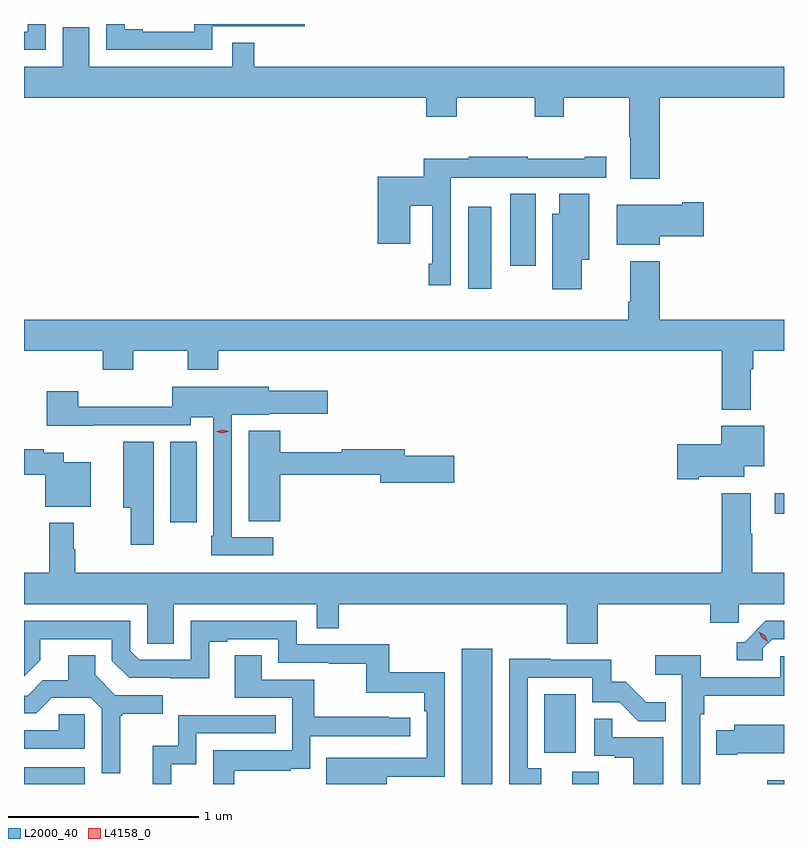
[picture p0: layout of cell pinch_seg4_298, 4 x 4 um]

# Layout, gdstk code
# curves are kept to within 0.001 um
import gdstk
lib = gdstk.Library(unit=1e-6, precision=1e-09)
def R(c, l, rs):  # rectangles x0, y0, x1, y1
    for r in rs: c.add(gdstk.rectangle(r[:2], r[2:], *l))
def P(c, l, *ps):  # polygons
    for p in ps: c.add(gdstk.Polygon(p, *l))
L2000_40 = (2000, 40)
L4158_0 = (4158, 0)

pinch_seg4_298 = lib.new_cell('pinch_seg4_298')
R(pinch_seg4_298, L2000_40, [(949.127,803.865,949.446,803.952), (951.431,803.865,951.592,804.577), (952.013,803.865,952.153,803.93), (953.038,803.865,953.127,803.884), (951.866,804.03,952.03,804.337), (949.898,805.242,950.035,805.667), (953.079,805.287,953.127,805.395), (951.464,806.472,951.586,806.902), (951.686,806.592,951.82,806.972)])
P(pinch_seg4_298, L2000_40, [(950.118,807.852),(950.605,807.852),(950.605,807.865),(950.022,807.865),(950.022,807.825),(949.753,807.825),(949.753,807.838),(949.657,807.838),(949.657,807.865),(949.56,807.865),(949.56,807.729),(950.118,807.729)],
  [(949.242,807.865),(949.146,807.865),(949.146,807.825),(949.127,807.825),(949.127,807.729),(949.242,807.729)],
  [(952.472,807.476),(953.127,807.476),(953.127,807.64),(950.339,807.64),(950.339,807.767),(950.223,807.767),(950.223,807.64),(949.471,807.64),(949.471,807.848),(949.332,807.848),(949.332,807.64),(949.127,807.64),(949.127,807.476),(951.245,807.476),(951.245,807.377),(951.405,807.377),(951.405,807.476),(951.814,807.476),(951.814,807.377),(951.969,807.377),(951.969,807.476),(952.312,807.476),(952.312,807.272),(952.319,807.272),(952.319,807.051),(952.472,807.051)],
  [(951.372,807.056),(951.582,807.056),(951.582,807.057),(952.192,807.057),(952.192,807.166),(952.079,807.166),(952.079,807.156),(951.779,807.156),(951.779,807.166),(951.469,807.166),(951.469,807.156),(951.23,807.156),(951.23,807.061),(950.99,807.061),(950.99,806.709),(951.16,806.709),(951.16,806.909),(951.276,806.909),(951.276,806.602),(951.256,806.602),(951.256,806.49),(951.372,806.49)],
  [(952.063,806.624),(952.102,806.624),(952.102,806.972),(951.944,806.972),(951.944,806.866),(951.908,806.866),(951.908,806.469),(952.063,806.469)],
  [(952.474,806.749),(952.705,806.749),(952.705,806.927),(952.592,806.927),(952.592,806.914),(952.247,806.914),(952.247,806.702),(952.474,806.702)],
  [(952.951,806.048),(952.964,806.048),(952.964,806.144),(953.127,806.144),(953.127,806.308),(952.472,806.308),(952.472,806.617),(952.319,806.617),(952.319,806.404),(952.307,806.404),(952.307,806.308),(949.127,806.308),(949.127,806.144),(949.541,806.144),(949.541,806.045),(949.701,806.045),(949.701,806.144),(949.99,806.144),(949.99,806.045),(950.15,806.045),(950.15,806.144),(952.799,806.144),(952.799,805.835),(952.951,805.835)],
  [(950.44,805.164),(950.22,805.164),(950.22,805.808),(950.415,805.808),(950.415,805.814),(950.725,805.814),(950.725,805.936),(950.415,805.936),(950.415,805.957),(949.908,805.957),(949.908,805.85),(949.412,805.85),(949.412,805.933),(949.247,805.933),(949.247,805.751),(949.495,805.751),(949.495,805.752),(950.004,805.752),(950.004,805.796),(950.124,805.796),(950.124,805.171),(950.112,805.171),(950.112,805.068),(950.44,805.068)],
  [(952.678,805.481),(952.918,805.481),(952.918,805.538),(953.023,805.538),(953.023,805.75),(952.796,805.75),(952.796,805.652),(952.566,805.652),(952.566,805.469),(952.678,805.469)],
  [(950.476,805.492),(951.002,805.492),(951.002,805.45),(951.391,805.45),(951.391,805.592),(951.13,805.592),(951.13,805.628),(950.799,805.628),(950.799,805.61),(950.476,805.61),(950.476,805.723),(950.309,805.723),(950.309,805.249),(950.476,805.249)],
  [(949.81,805.667),(949.649,805.667),(949.649,805.319),(949.688,805.319),(949.688,805.125),(949.81,805.125)],
  [(949.477,805.558),(949.335,805.558),(949.335,805.609),(949.232,805.609),(949.232,805.628),(949.127,805.628),(949.127,805.492),(949.239,805.492),(949.239,805.325),(949.477,805.325)],
  [(949.776,804.604),(949.915,804.604),(949.915,804.812),(950.667,804.812),(950.667,804.685),(950.783,804.685),(950.783,804.812),(951.983,804.812),(951.983,804.604),(952.148,804.604),(952.148,804.812),(952.739,804.812),(952.739,804.714),(952.89,804.714),(952.89,804.812),(953.127,804.812),(953.127,804.976),(952.959,804.976),(952.959,805.181),(952.951,805.181),(952.951,805.396),(952.799,805.396),(952.799,804.976),(949.397,804.976),(949.397,805.1),(949.39,805.1),(949.39,805.24),(949.261,805.24),(949.261,804.976),(949.127,804.976),(949.127,804.812),(949.776,804.812)],
  [(953.016,804.579),(953.064,804.627),(953.127,804.627),(953.127,804.723),(953.031,804.723),(952.92,804.612),(952.877,804.612),(952.877,804.516),(953.016,804.516)],
  [(951.037,803.902),(951.342,803.902),(951.342,804.454),(951.049,804.454),(951.049,804.6),(950.562,804.6),(950.562,804.723),(950.004,804.723),(950.004,804.519),(949.734,804.519),(949.686,804.567),(949.686,804.723),(949.127,804.723),(949.127,804.431),(949.213,804.517),(949.213,804.627),(949.59,804.627),(949.59,804.513),(949.68,804.423),(950.101,804.422),(950.101,804.615),(950.197,804.615),(950.197,804.627),(950.466,804.627),(950.466,804.504),(950.731,804.504),(950.731,804.499),(950.928,804.499),(950.928,804.344),(951.233,804.344),(951.233,804.248),(951.246,804.248),(951.246,804.003),(950.719,804.004),(950.719,803.865),(951.037,803.865)],
  [(952.686,804.233),(952.706,804.233),(952.706,804.329),(953.127,804.329),(953.127,804.537),(953.106,804.537),(953.106,804.426),(952.688,804.426),(952.688,804.542),(952.449,804.542),(952.449,804.44),(952.59,804.44),(952.59,803.865),(952.686,803.865)],
  [(949.633,804.225),(949.645,804.225),(949.645,804.236),(949.858,804.236),(949.858,804.333),(949.608,804.333),(949.501,804.44),(949.501,804.542),(949.361,804.542),(949.361,804.41),(949.226,804.41),(949.146,804.33),(949.127,804.33),(949.127,804.237),(949.192,804.237),(949.273,804.318),(949.479,804.318),(949.536,804.261),(949.536,803.922),(949.633,803.922)],
  [(950.233,803.934),(950.531,803.934),(950.531,803.945),(950.634,803.945),(950.634,804.117),(951.16,804.117),(951.16,804.213),(951.047,804.213),(951.047,804.218),(950.654,804.218),(950.654,804.414),(950.377,804.414),(950.377,804.542),(950.237,804.542),(950.237,804.318),(950.538,804.318),(950.538,804.042),(950.122,804.042),(950.122,803.865),(950.233,803.865)],
  [(951.85,803.949),(951.777,803.949),(951.777,804.423),(952.119,804.423),(952.119,804.294),(952.263,804.294),(952.361,804.196),(952.505,804.196),(952.505,804.295),(952.401,804.295),(952.294,804.402),(952.218,804.402),(952.218,804.519),(951.899,804.519),(951.899,804.524),(951.681,804.524),(951.681,803.865),(951.85,803.865)],
  [(949.446,804.231),(949.309,804.231),(949.309,804.147),(949.127,804.147),(949.127,804.051),(949.446,804.051)],
  [(949.902,803.969),(950.034,803.969),(950.034,804.132),(950.453,804.132),(950.453,804.228),(949.938,804.228),(949.938,804.067),(949.805,804.067),(949.805,803.865),(949.902,803.865)],
  [(952.492,804.111),(952.223,804.111),(952.223,804.209),(952.128,804.209),(952.128,804.015),(952.235,804.015),(952.235,804.003),(952.334,804.003),(952.334,803.865),(952.492,803.865)],
  [(952.882,804.026),(953.127,804.026),(953.127,804.178),(952.865,804.178),(952.865,804.148),(952.771,804.148),(952.771,804.019),(952.882,804.019)])
P(pinch_seg4_298, L4158_0, [(953.041,804.615),(953.011,804.634),(952.995,804.667),(952.995,804.667),(952.995,804.667),(953.026,804.648),(953.042,804.615),(953.042,804.615)],
  [(950.172,805.71),(950.137,805.719),(950.137,805.719),(950.137,805.72),(950.171,805.73),(950.206,805.721),(950.206,805.721),(950.206,805.721)])

lib.write_gds('pinch_seg4_298.gds')
